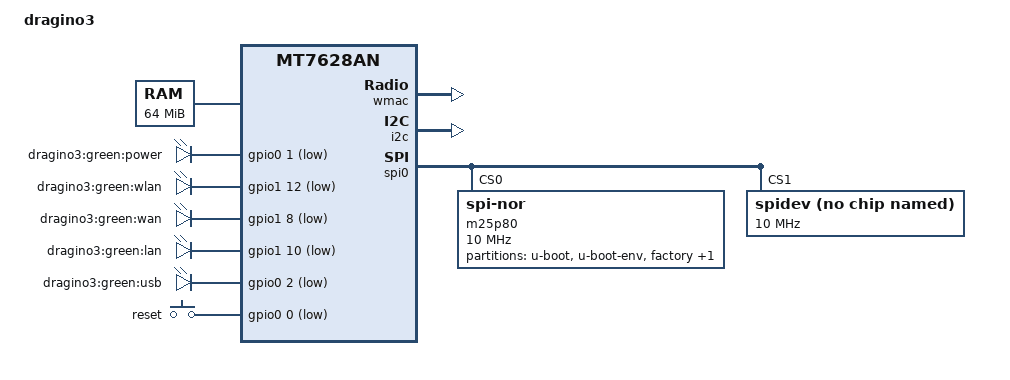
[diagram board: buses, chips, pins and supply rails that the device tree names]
/dts-v1/;

#include "mt7628an.dtsi"

#include <dt-bindings/gpio/gpio.h>
#include <dt-bindings/input/input.h>

/ {
	compatible = "dragino3", "mediatek,mt7628an-soc";
	model = "dragino3";

	memory@0 {
		device_type = "memory";
		reg = <0x0 0x4000000>;
	};

	aliases {
		led-boot = &led_power;
		led-failsafe = &led_power;
		led-running = &led_power;
		led-upgrade = &led_power;
	};

	leds {
		compatible = "gpio-leds";

		led_power: power {
			label = "dragino3:green:power";
			gpios = <&gpio0 1 GPIO_ACTIVE_LOW>;
		};

		wlan {
			label = "dragino3:green:wlan";
			gpios = <&gpio1 12 GPIO_ACTIVE_LOW>;
		};

		wan {
			label = "dragino3:green:wan";
			gpios = <&gpio1 8 GPIO_ACTIVE_LOW>;
		};

		lan {
			label = "dragino3:green:lan";
			gpios = <&gpio1 10 GPIO_ACTIVE_LOW>;
		};

		usb {
			label = "dragino3:green:usb";
			gpios = <&gpio0 2 GPIO_ACTIVE_LOW>;
			trigger-sources = <&ohci_port1>, <&ehci_port1>;
			linux,default-trigger = "usbport";
		};
    };

	keys {
		compatible = "gpio-keys-polled";
		poll-interval = <20>;
		reset {
			label = "reset";
			gpios = <&gpio0 0 GPIO_ACTIVE_LOW>;
			linux,code = <KEY_RESTART>;
		};
	};

	chosen {
		bootargs = "console=ttyS0,115200";
	};
};

&gpio0 {
	status = "okay";
};

&gpio1 {
	status = "okay";
};

&pinctrl {
	state_default: pinctrl0 {
		gpio {
			ralink,group = "gpio", "spis", "pwm0", "pwm1", "sdmode", "p1led_an", "p2led_an", "p3led_an", "p4led_an", "wled_an", "wdt", "refclk";
			ralink,function = "gpio";
		};
	};
};

&wmac {
	status = "okay";
};

&i2c {
    status = "okay";
};

&spi0 {
	status = "okay";
	pinctrl-0 = <&spi_pins>, <&spi_cs1_pins>;

	m25p80@0 {
		compatible = "jedec,spi-nor";
		reg = <0>;
		spi-max-frequency = <10000000>;

		partitions {
			compatible = "fixed-partitions";
			#address-cells = <1>;
			#size-cells = <1>;

			partition@0 {
				label = "u-boot";
				reg = <0x0 0x30000>;
				read-only;
			};

			partition@30000 {
				label = "u-boot-env";
				reg = <0x30000 0x10000>;
				read-only;
			};

			factory: partition@40000 {
				label = "factory";
				reg = <0x40000 0x10000>;
				read-only;
			};

			partition@50000 {
				compatible = "denx,uimage";
				label = "firmware";
				reg = <0x50000 0xfb0000>;
			};
		};
	};

	spidev@0 {
		compatible = "linux,spidev";
		reg = <1>;
		spi-max-frequency = <10000000>;
    };
};

